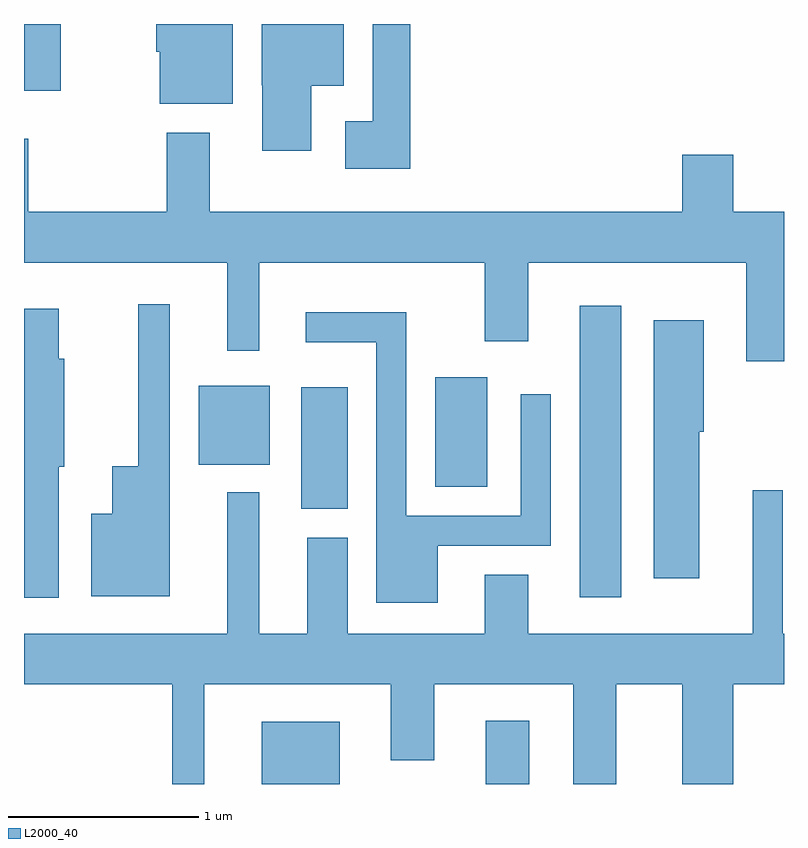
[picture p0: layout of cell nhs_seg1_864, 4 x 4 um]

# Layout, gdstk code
import gdstk
lib = gdstk.Library(unit=1e-6, precision=1e-09)
def R(c, l, rs):  # rectangles x0, y0, x1, y1
    for r in rs: c.add(gdstk.rectangle(r[:2], r[2:], *l))
def P(c, l, *ps):  # polygons
    for p in ps: c.add(gdstk.Polygon(p, *l))
L2000_40 = (2000, 40)

nhs_seg1_864 = lib.new_cell('nhs_seg1_864')
R(nhs_seg1_864, L2000_40, [(212.861,905.712,213.274,906.039), (214.041,905.712,214.269,906.044), (214.536,906.696,214.754,908.229), (213.071,907.161,213.314,907.799), (213.776,907.276,214.049,907.854), (212.531,907.391,212.904,907.809), (211.611,909.361,211.804,909.712)])
P(nhs_seg1_864, L2000_40, [(212.709,909.712),(212.306,909.712),(212.306,909.566),(212.326,909.566),(212.326,909.291),(212.709,909.291)],
  [(213.124,909.386),(213.294,909.386),(213.294,909.712),(212.861,909.712),(212.861,909.39),(212.866,909.39),(212.866,909.046),(213.124,909.046)],
  [(213.644,909.712),(213.446,909.712),(213.446,909.199),(213.301,909.199),(213.301,908.951),(213.644,908.951)],
  [(215.611,908.724),(215.344,908.724),(215.344,909.024),(215.076,909.024),(215.076,908.724),(212.589,908.724),(212.589,909.139),(212.361,909.139),(212.361,908.724),(211.634,908.724),(211.634,909.108),(211.611,909.108),(211.611,908.456),(212.681,908.456),(212.681,907.993),(212.849,907.993),(212.849,908.456),(214.036,908.456),(214.036,908.041),(214.264,908.041),(214.264,908.456),(215.411,908.456),(215.411,907.936),(215.611,907.936)],
  [(212.379,908.238),(212.211,908.238),(212.211,907.384),(212.076,907.384),(212.076,907.134),(211.966,907.134),(211.966,906.701),(212.379,906.701)],
  [(211.794,907.381),(211.824,907.381),(211.824,907.949),(211.794,907.949),(211.794,908.214),(211.611,908.214),(211.611,906.691),(211.794,906.691)],
  [(213.789,906.966),(214.384,906.966),(214.384,907.763),(214.226,907.763),(214.226,907.124),(213.624,907.124),(213.624,908.194),(213.093,908.194),(213.093,908.036),(213.466,908.036),(213.466,906.666),(213.789,906.666)],
  [(215.164,907.566),(215.189,907.566),(215.189,908.154),(214.926,908.154),(214.926,906.796),(215.164,906.796)],
  [(212.559,906.236),(213.541,906.236),(213.541,905.836),(213.769,905.836),(213.769,906.236),(214.501,906.236),(214.501,905.712),(214.729,905.712),(214.729,906.236),(215.076,906.236),(215.076,905.712),(215.344,905.712),(215.344,906.236),(215.611,906.236),(215.611,906.504),(215.604,906.504),(215.604,907.258),(215.446,907.258),(215.446,906.504),(214.264,906.504),(214.264,906.814),(214.036,906.814),(214.036,906.504),(213.314,906.504),(213.314,907.009),(213.101,907.009),(213.101,906.504),(212.849,906.504),(212.849,907.248),(212.681,907.248),(212.681,906.504),(211.611,906.504),(211.611,906.236),(212.391,906.236),(212.391,905.712),(212.559,905.712)])

lib.write_gds('nhs_seg1_864.gds')
